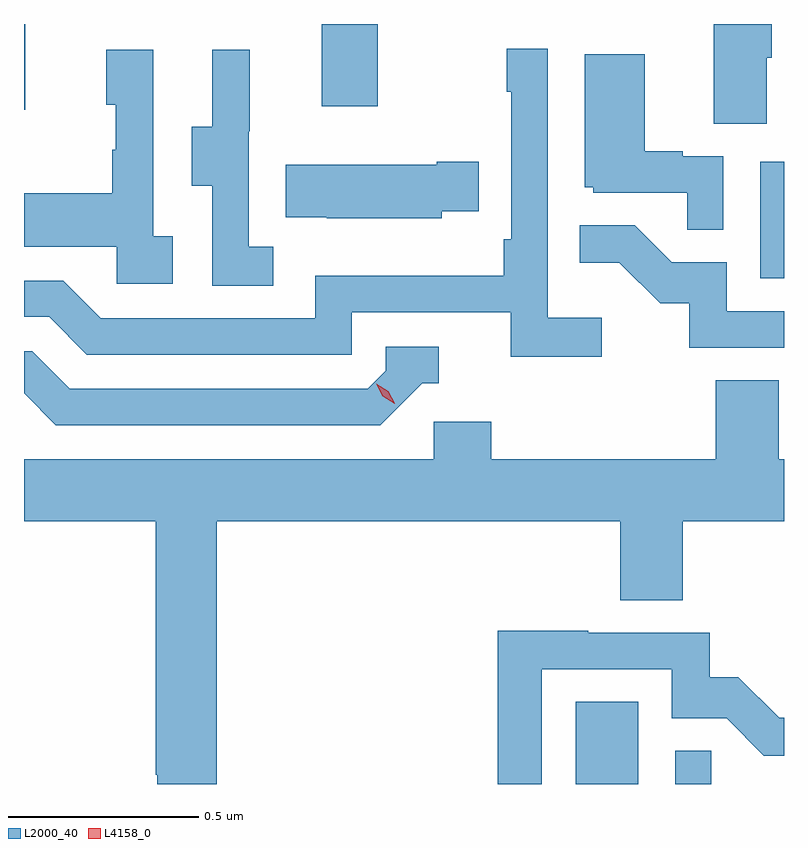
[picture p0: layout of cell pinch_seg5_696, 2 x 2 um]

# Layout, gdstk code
import gdstk
lib = gdstk.Library(unit=1e-6, precision=1e-09)
def R(c, l, rs):  # rectangles x0, y0, x1, y1
    for r in rs: c.add(gdstk.rectangle(r[:2], r[2:], *l))
def P(c, l, *ps):  # polygons
    for p in ps: c.add(gdstk.Polygon(p, *l))
L2000_40 = (2000, 40)
L4158_0 = (4158, 0)

pinch_seg5_696 = lib.new_cell('pinch_seg5_696')
R(pinch_seg5_696, L2000_40, [(1129.688,841.417,1129.852,841.633), (1129.95,841.417,1130.045,841.505), (1130.174,842.748,1130.236,843.055), (1128.236,843.192,1128.239,843.417), (1129.019,843.201,1129.167,843.417)])
P(pinch_seg5_696, L2000_40, [(1130.191,843.328),(1130.204,843.328),(1130.204,843.417),(1130.051,843.417),(1130.051,843.154),(1130.191,843.154)],
  [(1129.756,842.644),(1129.614,842.644),(1129.614,843.352),(1129.506,843.352),(1129.506,843.239),(1129.518,843.239),(1129.518,842.851),(1129.498,842.851),(1129.498,842.755),(1129.002,842.755),(1129.002,842.643),(1128.438,842.643),(1128.339,842.742),(1128.236,842.742),(1128.236,842.646),(1128.302,842.646),(1128.401,842.547),(1129.098,842.547),(1129.098,842.658),(1129.517,842.658),(1129.517,842.542),(1129.756,842.542)],
  [(1128.628,842.858),(1128.576,842.858),(1128.576,843.349),(1128.452,843.349),(1128.452,843.204),(1128.478,843.204),(1128.478,843.086),(1128.468,843.086),(1128.468,842.971),(1128.236,842.971),(1128.236,842.831),(1128.48,842.831),(1128.48,842.733),(1128.628,842.733)],
  [(1128.892,842.831),(1128.828,842.831),(1128.828,843.135),(1128.83,843.135),(1128.83,843.349),(1128.731,843.349),(1128.731,843.147),(1128.677,843.147),(1128.677,842.992),(1128.732,842.992),(1128.732,842.728),(1128.892,842.728)],
  [(1130.076,843.069),(1129.97,843.069),(1129.97,843.082),(1129.87,843.082),(1129.87,843.337),(1129.712,843.337),(1129.712,842.988),(1129.734,842.988),(1129.734,842.973),(1129.981,842.973),(1129.981,842.875),(1130.076,842.875)],
  [(1129.335,842.924),(1129.433,842.924),(1129.433,843.054),(1129.322,843.054),(1129.322,843.046),(1128.925,843.046),(1128.925,842.909),(1129.033,842.909),(1129.033,842.906),(1129.335,842.906)],
  [(1130.236,842.661),(1130.085,842.661),(1130.085,842.79),(1129.941,842.79),(1129.843,842.888),(1129.699,842.888),(1129.699,842.789),(1129.803,842.789),(1129.91,842.682),(1129.987,842.682),(1129.987,842.565),(1130.236,842.565)],
  [(1129.284,842.472),(1129.327,842.472),(1129.327,842.568),(1129.188,842.568),(1129.188,842.505),(1129.14,842.457),(1128.357,842.457),(1128.258,842.556),(1128.236,842.556),(1128.236,842.445),(1128.32,842.361),(1129.173,842.361)],
  [(1128.743,842.108),(1129.805,842.108),(1129.805,841.9),(1129.97,841.9),(1129.97,842.108),(1130.236,842.108),(1130.236,842.272),(1130.222,842.272),(1130.222,842.48),(1130.057,842.48),(1130.057,842.272),(1129.466,842.272),(1129.466,842.37),(1129.314,842.37),(1129.314,842.272),(1128.236,842.272),(1128.236,842.108),(1128.583,842.108),(1128.583,841.441),(1128.587,841.441),(1128.587,841.417),(1128.743,841.417)],
  [(1129.599,841.719),(1129.941,841.719),(1129.941,841.59),(1130.085,841.59),(1130.183,841.492),(1130.236,841.492),(1130.236,841.591),(1130.223,841.591),(1130.116,841.698),(1130.04,841.698),(1130.04,841.815),(1129.721,841.815),(1129.721,841.82),(1129.483,841.82),(1129.483,841.417),(1129.599,841.417)])
P(pinch_seg5_696, L4158_0, [(1129.211,842.418),(1129.18,842.438),(1129.163,842.47),(1129.163,842.47),(1129.163,842.47),(1129.194,842.451),(1129.211,842.419),(1129.211,842.418)])

lib.write_gds('pinch_seg5_696.gds')
